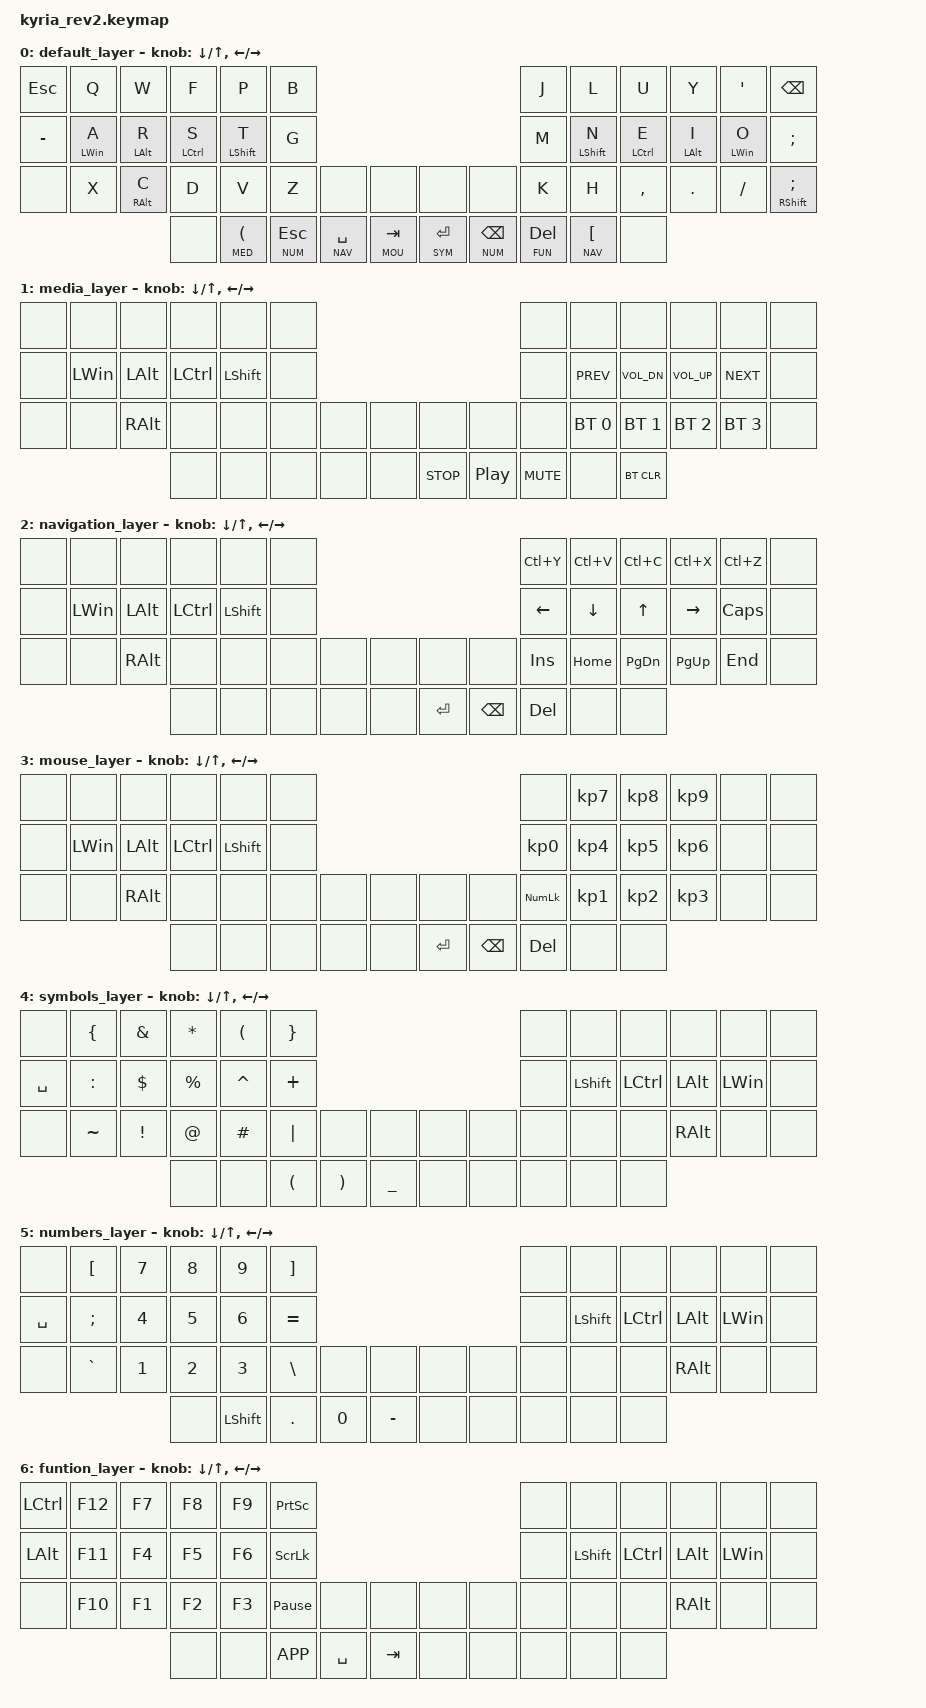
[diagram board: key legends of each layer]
#include <behaviors.dtsi>
#include <dt-bindings/zmk/keys.h>
#include <dt-bindings/zmk/bt.h>
#include <dt-bindings/zmk/outputs.h>

#define BASE 0
#define MED  1
#define NAV  2
#define MOU  3
#define SYM  4
#define NUM  5
#define FUN  6

&left_encoder { resolution = <2>; };
&right_encoder { resolution = <2>; };

/ {

  // conditional_layers {
  //   compatible = "zmk,conditional-layers";
  //   tri_layer {
  //       if-layers = <4 5>;
  //       then-layer = <6>;
  //   };
  // };

  behaviors {
	  hm: homerow_mods {
	    compatible = "zmk,behavior-hold-tap";
	    label = "homerow mods";
	    #binding-cells = <2>;
	    tapping_term_ms = <500>;
	    flavor = "balanced";
	    bindings = <&kp>, <&kp>;
	  };

	  sm: shift_mods {
	    compatible = "zmk,behavior-hold-tap";
	    label = "shift mods";
	    #binding-cells = <2>;
	    tapping_term_ms = <220>;
	    flavor = "balanced";
	    bindings = <&kp>, <&kp>;
	  };
	};

  macros {

  };

	keymap {
		compatible = "zmk,keymap";

		default_layer {
// ---------------------------------------------------------------------------------------------------------------------------------
// |  ESC  |  Q  |  W  |  F   |  P   |  B   |                                          |  J   |  L    |  U    |  Y   |   '   | bksp |
// | TAB/FN|  A  |  R  |  S   |  T   |  G   |                                          |  M   |  N    |  E    |  I   |   O   |ent/fn|
// | SHIFT |  X  |  C  |  D   |  V   |  Z   | ---     |  ---    |  |   ---   |  ---    |  K   |  H    |  ,    |  .   |   /   |shft/;|
//                     | ENC  |Opt/En| Cmd  |  Nav    |   del   |  |   bksp  |  num    | spc  | Ctl   | ENC2  |
// encoder : volume up/down //// ctrl left/ ctrl right
			bindings = <
	&kp ESC     &kp Q      &kp W      &kp F       &kp P        &kp B                                                          &kp J       &kp L        &kp U       &kp Y      &kp SQT    &kp BSPC
	&kp MINUS   &hm LWIN A &hm LALT R &hm LCTRL S &sm LSHIFT T &kp G                                                          &kp M       &sm LSHIFT N &hm LCTRL E &hm LALT I &hm LWIN O &kp SEMI
	&none       &kp X      &hm RALT C &kp D       &kp V &kp Z       &none         &none            &none         &none        &kp K       &kp H        &kp COMMA   &kp DOT    &kp FSLH   &mt RSHFT SEMI
	                                  &none   &lt MED LPAR &lt NUM ESC &lt NAV SPACE &lt MOU TAB      &lt SYM ENTER &lt NUM BSPC &lt FUN DEL &lt NAV LBKT &none
			>;

			sensor-bindings = <&inc_dec_kp DOWN UP &inc_dec_kp LEFT RIGHT>;
		};

		media_layer {
// ---------------------------------------------------------------------------------------------------------------------------------
// | ---   | --- | --- | ---  | ---  | ---  |                                       | ---  |  ---  |  ---  |  --- | ---  | ---  |
// | ---   |Super| Alt | Ctrl | Shift| ---  |                                       | ---  |  PREV |  V-   |  V+  | NEXT | ---  |
// | ---   | --- | Alt | ---  | ---  | ---  |  ---   |  ---    |  |   ---   |  ---  |BT_CLR|  BT_0 |  BT_1 |  BT_2| BT_3 | ---  |
//                     | ---  | ---  | ---  |  ---   |  ---    |  |  STOP   | PAUSE | MUTE | ---   | ---   |
// encoder : volume up/down //// brightness up/down

			bindings = <
	&none &none    &none    &none     &none     &none                                          &none      &none        &none        &none        &none        &none
	&none &kp LWIN &kp LALT &kp LCTRL &kp LSHFT &none                                          &none      &kp C_PREV   &kp C_VOL_DN &kp C_VOL_UP &kp C_NEXT   &none
	&none &none    &kp RALT &none     &none     &none &none &none  &none      &none            &none      &bt BT_SEL 0 &bt BT_SEL 1 &bt BT_SEL 2 &bt BT_SEL 3 &none
	                        &none     &none     &none &none &none  &kp C_STOP &kp C_PLAY_PAUSE &kp C_MUTE &none &bt BT_CLR
			>;

			sensor-bindings = <&inc_dec_kp DOWN UP &inc_dec_kp LEFT RIGHT>;
		};
		
		navigation_layer {
// ---------------------------------------------------------------------------------------------------------------------------------
// | ---   | --- | --- | ---  | ---  | ---  |                                       | REDO |  PASTE|  COPY |  CUT | UNDO | ---  |
// | ---   |Super| Alt | Ctrl | Shift| ---  |                                       | LEFT |  DOWN |  UP   |  DOWN| CAPS | ---  |
// | ---   | --- | Alt | ---  | ---  | ---  |  ---   |  ---    |  |   ---   |  ---  |INSERT|  HOME |  PGDN |  PGUP| END  | ---  |
//                     | ---  | ---  | ---  |  ---   |  ---    |  |  ENTER  | BACSP | DEL  | ---   | ---   |
// encoder : volume up/down //// brightness up/down

			bindings = <
	&none &none    &none    &none     &none     &none                                              &kp LC(Y) &kp LC(V) &kp LC(C) &kp LC(X) &kp LC(Z) &none
	&none &kp LWIN &kp LALT &kp LCTRL &kp LSHFT &none                                              &kp LEFT  &kp DOWN  &kp UP    &kp RIGHT &kp CAPS &none
	&none &none    &kp RALT &none     &none     &none &none &none               &none     &none    &kp INS   &kp HOME  &kp PG_DN &kp PG_UP &kp END   &none
	                        &none     &none     &none &none &none               &kp ENTER &kp BSPC &kp DEL &none &none
			>;

			sensor-bindings = <&inc_dec_kp DOWN UP &inc_dec_kp LEFT RIGHT>;
		};
		
		mouse_layer {
// ---------------------------------------------------------------------------------------------------------------------------------
// | ---   | --- | --- | ---  | ---  | ---  |                                       | ---  |  KP7  |  KP8 |  KP9  | ---  | ---  |
// | ---   |Super| Alt | Ctrl | Shift| ---  |                                       | KP0  |  KP4  |  KP5 |  KP6  | ---  | ---  |
// | ---   | --- | Alt | ---  | ---  | ---  |  ---   |  ---    |  |   ---   |  ---  | ---  |  KP1  |  KP2 |  KP3  | ---  | ---  |
//                     | ---  | ---  | ---  |  ---   |  ---    |  |  ENTER  | BACSP | DEL  | ---   | ---   |
// encoder : volume up/down //// brightness up/down

			bindings = <
	&none &none    &none    &none     &none     &none                                              &none     &kp KP_N7 &kp KP_N8 &kp KP_N9 &none &none
	&none &kp LWIN &kp LALT &kp LCTRL &kp LSHFT &none                                              &kp KP_N0 &kp KP_N4 &kp KP_N5 &kp KP_N6 &none &none
	&none &none    &kp RALT &none     &none     &none &none &none               &none     &none    &kp KP_NUM &kp KP_N1 &kp KP_N2 &kp KP_N3 &none &none
	                        &none     &none     &none &none &none               &kp ENTER &kp BSPC &kp DEL &none &none
			>;

			sensor-bindings = <&inc_dec_kp DOWN UP &inc_dec_kp LEFT RIGHT>;
		};
		
		symbols_layer {
// ---------------------------------------------------------------------------------------------------------------------------------
// | ---   | {   | &   | *    | (    | }    |                                       | ---  |  ---  |  --- |  ---  | ---  | ---  |
// | ---   | :   | $   | %    | ^    | +    |                                       | ---  |  Shift|  Ctrl|  Alt  | Super| ---  |
// | ---   | ~   | !   | @    | #    | |    |  ---   |  ---    |  |   ---   |  ---  | ---  |  ---  |  --- |  Alt  | ---  | ---  |
//                     | ---  | ---  | (    |  )     |  _      |  |   ---   |  ---  | ---  |  ---  |  --- |
// encoder : volume up/down //// brightness up/down

			bindings = <
	&none &kp LBRC  &kp AMPS &kp STAR  &kp LPAR  &kp RBRC                                       &none &none     &none     &none    &none    &none
	&kp SPACE &kp COLON &kp DLLR &kp PRCNT &kp CARET &kp PLUS                                       &none &kp LSHFT &kp LCTRL &kp LALT &kp LWIN &none
	&none &kp TILDE &kp EXCL &kp AT    &kp HASH  &kp PIPE &none    &none            &none &none &none &none     &none     &kp RALT &none    &none
	                         &none     &none     &kp LPAR &kp RPAR &kp UNDER        &none &none &none &none     &none
			>;

			sensor-bindings = <&inc_dec_kp DOWN UP &inc_dec_kp LEFT RIGHT>;
		};
		
		numbers_layer {
// ---------------------------------------------------------------------------------------------------------------------------------
// | ---   | [   | 7   | 8    | 9    | ]    |                                       | ---  |  ---  |  --- |  ---  | ---  | ---  |
// | ---   | ;   | 4   | 5    | 6    | =    |                                       | ---  |  Shift|  Ctrl|  Alt  | Super| ---  |
// | ---   | `   | 1   | 2    | 3    | \    |  ---   |  ---    |  |   ---   |  ---  | ---  |  ---  |  --- |  Alt  | ---  | ---  |
//                     | ---  | ---  | .    |  0     |  -      |  |   ---   |  ---  | ---  |  ---  |  --- |
// encoder : volume up/down //// brightness up/down

			bindings = <
	&none &kp LBKT  &kp N7 &kp N8 &kp N9 &kp RBKT                                       &none &none     &none     &none    &none    &none
	&kp SPACE &kp SEMI  &kp N4 &kp N5 &kp N6 &kp EQUAL                                      &none &kp LSHFT &kp LCTRL &kp LALT &kp LWIN &none
	&none &kp GRAVE &kp N1 &kp N2 &kp N3 &kp BSLH &none  &none              &none &none &none &none     &none     &kp RALT &none    &none
	                       &none  &kp LSHIFT  &kp DOT  &kp N0 &kp MINUS          &none &none &none &none     &none
			>;

			sensor-bindings = <&inc_dec_kp DOWN UP &inc_dec_kp LEFT RIGHT>;
		};
		
		funtion_layer {
// ---------------------------------------------------------------------------------------------------------------------------------
// | ---   | F12 | F7  | F8   | F9   |PriScr|                                       | ---  |  ---  |  --- |  ---  | ---  | ---  |
// | ---   | F11 | F4  | F5   | F6   |Scrlok|                                       | ---  |  Shift|  Ctrl|  Alt  | Super| ---  |
// | ---   | F10 | F1  | F2   | F3   |Pause |  ---   |  ---    |  |   ---   |  ---  | ---  |  ---  |  --- |  Alt  | ---  | ---  |
//                     | ---  | ---  | Menu |  Space |  Tab    |  |   ---   |  ---  | ---  |  ---  |  --- |
// encoder : volume up/down //// brightness up/down

			bindings = <
	&kp LCTRL &kp F12 &kp F7 &kp F8 &kp F9 &kp PSCRN                                              &none &none     &none     &none    &none    &none
	&kp LALT &kp F11 &kp F4 &kp F5 &kp F6 &kp SLCK                                               &none &kp LSHFT &kp LCTRL &kp LALT &kp LWIN &none
	&none &kp F10 &kp F1 &kp F2 &kp F3 &kp PAUSE_BREAK &none     &none            &none &none &none &none     &none     &kp RALT &none    &none
	                     &none  &none  &kp K_APP       &kp SPACE &kp TAB          &none &none &none &none     &none
			>;

			sensor-bindings = <&inc_dec_kp DOWN UP &inc_dec_kp LEFT RIGHT>;
		};
	};
};
